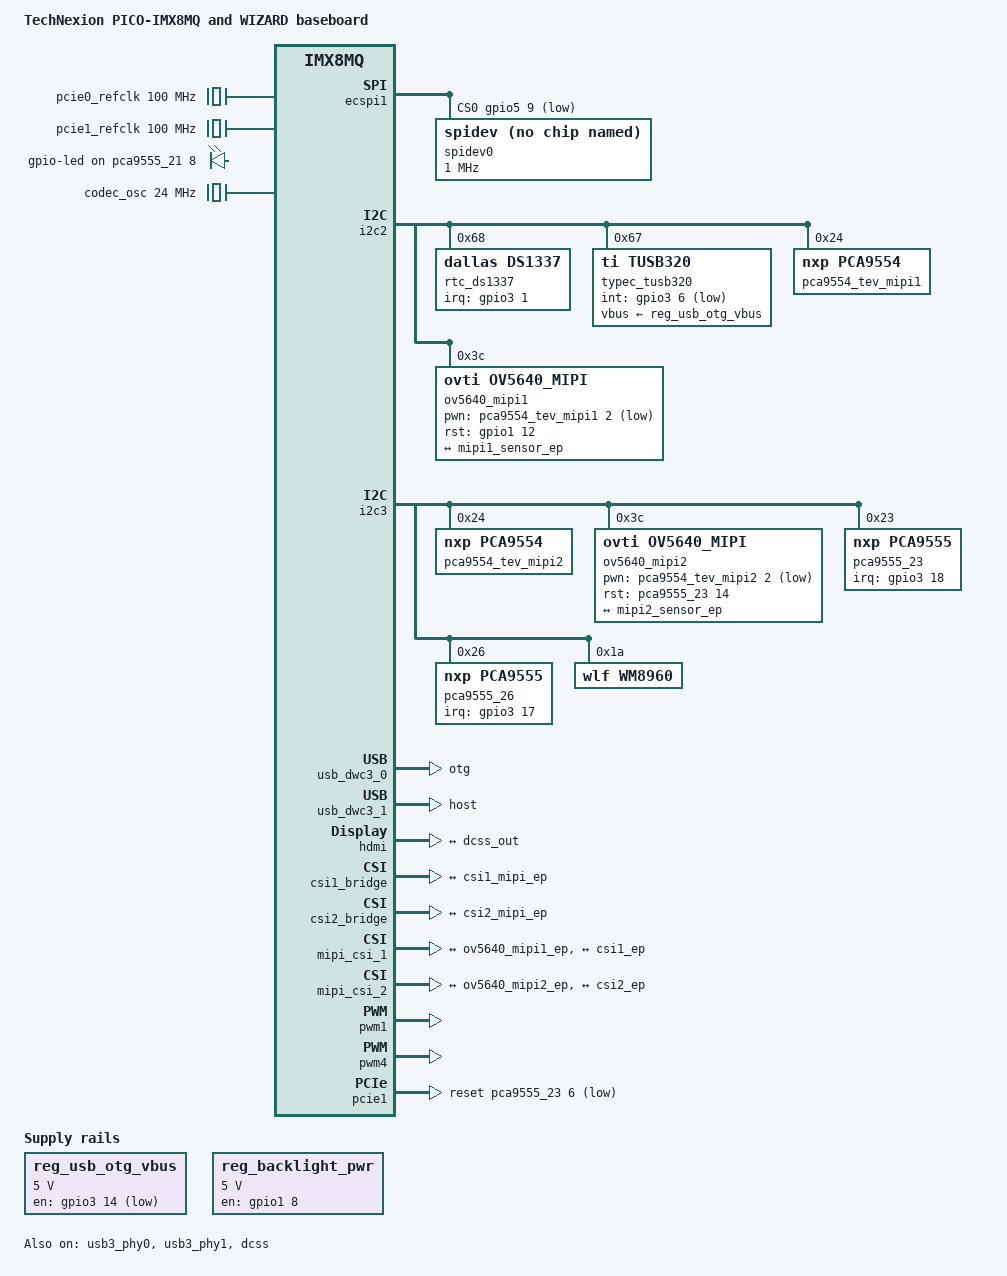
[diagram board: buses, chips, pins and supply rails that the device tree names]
/*
 * Copyright 2018 Technexion Ltd.
 * Copyright 2017 NXP
 *
 * Author: Richard Hu <richard.hu@technexion.com>
 *
 * This program is free software; you can redistribute it and/or
 * modify it under the terms of the GNU General Public License
 * as published by the Free Software Foundation; either version 2
 * of the License, or (at your option) any later version.
 *
 * This program is distributed in the hope that it will be useful,
 * but WITHOUT ANY WARRANTY; without even the implied warranty of
 * MERCHANTABILITY or FITNESS FOR A PARTICULAR PURPOSE.  See the
 * GNU General Public License for more details.
 */

/dts-v1/;

#include "imx8mq-pico.dtsi"

&gpio3 {
	pinctrl-names = "default";
	pinctrl-0 = <&pinctrl_gpio3>;
	gpio-line-names =
		"GPIO_P28", "", "", "", "GPIO_P26", "GPIO_P30", "", "",
		"", "", "", "", "", "", "", "GPIO_P32",
		"", "", "", "", "", "", "", "",
		"", "", "", "", "", "", "", "";
};

/ {
	model = "TechNexion PICO-IMX8MQ and WIZARD baseboard";
	compatible = "pico,imx8mq-pico", "fsl,imx8mq";

	chosen {
		stdout-path = &uart1;
	};

	pcie0_refclk: pcie0-refclk {
		compatible = "fixed-clock";
		#clock-cells = <0>;
		clock-frequency = <100000000>;
	};
	pcie1_refclk: pcie0-refclk {
		compatible = "fixed-clock";
		#clock-cells = <0>;
		clock-frequency = <100000000>;
	};
	reg_usb_otg_vbus: usb_otg_vbus {
		pinctrl-names = "default";
		pinctrl-0 = <&pinctrl_otg_vbus>;
		compatible = "regulator-fixed";
		regulator-name = "usb_otg_vbus";
		regulator-min-microvolt = <5000000>;
		regulator-max-microvolt = <5000000>;
		gpio = <&gpio3 14 GPIO_ACTIVE_LOW>;
	};
	reg_backlight_pwr: regulator_blpwr {
		pinctrl-names = "default";
		pinctrl-0 = <&pinctrl_backlight_pwr>;
		compatible = "regulator-fixed";
		regulator-name = "backlight_pwr";
		regulator-min-microvolt = <5000000>;
		regulator-max-microvolt = <5000000>;
		gpio = <&gpio1 8 GPIO_ACTIVE_HIGH>;
		enable-active-high;
	};

	backlight_mipi {
		compatible = "pwm-backlight";
		pwms = <&pwm1 0 50000 0>;
		brightness-levels = <0 36 72 108 144 180 216 255>;
		default-brightness-level = <6>;
		power-supply = <&reg_backlight_pwr>;
		status = "disabled";
	};

	leds {
		compatible = "gpio-leds";

		led {
			label = "gpio-led";
			default-state = "on";
			gpios = <&pca9555_21 8 GPIO_ACTIVE_HIGH>;
		};
	};

	sound-hdmi {
		compatible = "fsl,imx8mq-evk-cdnhdmi",
				"fsl,imx-audio-cdnhdmi";
		model = "imx-audio-hdmi";
		audio-cpu = <&sai4>;
		protocol = <1>;
		hdmi-out;
		constraint-rate = <44100>,
				<88200>,
				<176400>,
				<32000>,
				<48000>,
				<96000>,
				<192000>;
	};

	sound_wm8960: sound-wm8960 {
		compatible = "fsl,imx-audio-wm8960";
		model = "wm8960-audio";
		cpu-dai = <&sai2>;
		codec-master;
		audio-codec = <&wm8960>;
		audio-routing =
			"Headphone Jack", "HP_L",
			"Headphone Jack", "HP_R",
			"Ext Spk", "SPK_LP",
			"Ext Spk", "SPK_LN",
			"Ext Spk", "SPK_RP",
			"Ext Spk", "SPK_RN",
			"LINPUT1", "Main MIC",
			"RINPUT1", "Main MIC",
			"Main MIC", "MICB";
		/* JD2: hp detect high for headphone*/
		hp-det = <2 0>;
	};

	clocks {
		codec_osc: aud_mclk {
			compatible = "fixed-clock";
			#clock-cells = <0>;
			clock-frequency = <24000000>;
			clock-output-names = "wm8960-mclk";
		};
	};
};

&iomuxc {
	pinctrl-names = "default";
	pinctrl-0 = <&pinctrl_hog>;

	pinctrl_hog: hoggrp {
		fsl,pins = <
			/* Clock for both CSI1 and CSI2 */
			MX8MQ_IOMUXC_GPIO1_IO15_CCMSRCGPCMIX_CLKO2	0x07
		>;
	};

	pinctrl_otg_vbus: otgvbusgrp {
		fsl,pins = <
			MX8MQ_IOMUXC_NAND_DQS_GPIO3_IO14		0x19   /* USB OTG VBUS Enable */
		>;
	};
	pinctrl_backlight_pwr: backlight_pwrgrp {
		fsl,pins = <
			MX8MQ_IOMUXC_GPIO1_IO08_GPIO1_IO8		0x19
		>;
	};
	pinctrl_dsi_pwm: dsi_pwm {
		fsl,pins = <
			MX8MQ_IOMUXC_GPIO1_IO01_PWM1_OUT		0x16	/* DSI PWM */
		>;
	};
	pinctrl_fan_pwm: fan_pwm {
		fsl,pins = <
			MX8MQ_IOMUXC_SAI3_MCLK_PWM4_OUT			0x16	/* FAN PWM */
		>;
	};
	pinctrl_tusb320_irq: tusb320_irqgrp {
		fsl,pins = <
			MX8MQ_IOMUXC_NAND_DATA00_GPIO3_IO6	0x41	/* GPIO_P48 */
		>;
	};
	pinctrl_csi1: csi1grp {
		fsl,pins = <
			MX8MQ_IOMUXC_NAND_CE1_B_GPIO3_IO2		0x19   /* CSI P1 PWDN */
			MX8MQ_IOMUXC_GPIO1_IO12_GPIO1_IO12		0x19   /* CSI nRST */
		>;
	};
	pinctrl_nfc_ctrl: nfc_ctrl {
		fsl,pins = <
			MX8MQ_IOMUXC_ECSPI1_MOSI_GPIO5_IO7		0x19	/* PIN_ENABLE */
		>;
	};
	pinctrl_touch_irq: touch_irqgrp {
		fsl,pins = <
			MX8MQ_IOMUXC_GPIO1_IO07_GPIO1_IO7	0x41
		>;
	};
	pinctrl_pca9555_21: pca9555_21grp {
		fsl,pins = <
			MX8MQ_IOMUXC_NAND_CE2_B_GPIO3_IO3	0x19 /* GPIO_P25, irq */
		>;
	};
	pinctrl_pca9555_23: pca9555_23grp {
		fsl,pins = <
			MX8MQ_IOMUXC_NAND_WP_B_GPIO3_IO18	0x19 /* GPIO_P42, irq */
		>;
	};
	pinctrl_pca9555_26: pca9555_26grp {
		fsl,pins = <
			MX8MQ_IOMUXC_NAND_WE_B_GPIO3_IO17	0x19 /* GPIO_P34, irq */
		>;
	};
	pinctrl_gpio_led: gpioledgrp {
		fsl,pins = <
			MX8MQ_IOMUXC_SPDIF_EXT_CLK_GPIO5_IO5	0x19
		>;
	};
	pinctrl_rtc_irq: pinctrl_rtc_irqgrp {
		fsl,pins = <
			MX8MQ_IOMUXC_NAND_CE0_B_GPIO3_IO1   0x150 /* GPIO_P24, rtc wakeup irq */
		>;
	};
	pinctrl_gpio3: gpio3grp {
		fsl,pins = <
			MX8MQ_IOMUXC_NAND_ALE_GPIO3_IO0			0x19 /* GPIO_P28 */
			MX8MQ_IOMUXC_NAND_CE3_B_GPIO3_IO4		0x19 /* GPIO_P26, PIN_INT on NFC */
			MX8MQ_IOMUXC_NAND_CLE_GPIO3_IO5			0x19 /* GPIO_P30 */
			MX8MQ_IOMUXC_NAND_RE_B_GPIO3_IO15		0x19 /* GPIO_P32 */
		>;
	};
	pinctrl_ecspi1: ecspi1grp {
		fsl,pins = <
			MX8MQ_IOMUXC_ECSPI1_SCLK_ECSPI1_SCLK	0x82
			MX8MQ_IOMUXC_ECSPI1_MOSI_ECSPI1_MOSI	0x82
			MX8MQ_IOMUXC_ECSPI1_MISO_ECSPI1_MISO	0x82
		>;
	};
	pinctrl_ecspi1_cs: ecspi1cs {
		fsl,pins = <
			MX8MQ_IOMUXC_ECSPI1_SS0_GPIO5_IO9	0x16
		>;
	};
};


&ecspi1 {
	#address-cells = <1>;
	#size-cells = <0>;
	fsl,spi-num-chipselects = <1>;
	pinctrl-names = "default";
	pinctrl-0 = <&pinctrl_ecspi1 &pinctrl_ecspi1_cs>;
	cs-gpios = <&gpio5 9 GPIO_ACTIVE_LOW>;
	status = "okay";

	spidev0: spi@0 {
		reg = <0>;
		compatible = "rohm,dh2228fv";
		spi-max-frequency = <1000000>;
	};
};

&i2c2 {
	status = "okay";

	rtc_ds1337: ds1337@68 {
		compatible = "dallas,ds1337";
		pinctrl-0 = <&pinctrl_rtc_irq>;
		reg = <0x68>;
		wakeup-source;
		interrupt-parent = <&gpio3>;
		interrupts = <1 0>;
	};

	typec_tusb320:tusb320@67 {
		compatible = "ti,tusb320";
		pinctrl-names = "default";
		pinctrl-0 = <&pinctrl_tusb320_irq>;
		reg = <0x67>;
		vbus-supply = <&reg_usb_otg_vbus>;
		tusb320,int-gpio = <&gpio3 6 GPIO_ACTIVE_LOW>;
		tusb320,select-mode = <0>;
		tusb320,dfp-power = <0>;
	};

	/* PCA9554 on camera tev_mipi board */
	pca9554_tev_mipi1: pca9554_tev_mipi@24 {
		compatible = "nxp,pca9554";
		reg =<0x24>;
		gpio-controller;
		#gpio-cells = <2>;
	};

	ov5640_mipi1: ov5640_mipi@3c {
		compatible = "ovti,ov5640_mipi";
		reg = <0x3c>;
		status = "okay";
		pinctrl-names = "default";
		pinctrl-0 = <&pinctrl_csi1>;
		clocks = <&clk IMX8MQ_CLK_CLKO2>;
		clock-names = "csi_mclk";
		assigned-clocks = <&clk IMX8MQ_CLK_CLKO2>;
		assigned-clock-parents = <&clk IMX8MQ_SYS2_PLL_200M>;
		assigned-clock-rates = <20000000>;
		csi_id = <0>;
		pwn-gpios = <&pca9554_tev_mipi1 2 GPIO_ACTIVE_LOW>;
		rst-gpios = <&gpio1 12 GPIO_ACTIVE_HIGH>;
		mclk = <20000000>;
		mclk_source = <0>;
		port {
			ov5640_mipi1_ep: endpoint {
				remote-endpoint = <&mipi1_sensor_ep>;
			};
		};
	};
};

&i2c3 {
	status = "okay";

	/* PCA9554 on camera tev_mipi board */
	pca9554_tev_mipi2: pca9554_tev_mipi@24 {
		compatible = "nxp,pca9554";
		reg =<0x24>;
		gpio-controller;
		#gpio-cells = <2>;
	};

	ov5640_mipi2: ov5640_mipi2@3c {
		compatible = "ovti,ov5640_mipi";
		reg = <0x3c>;
		status = "okay";
		pinctrl-names = "default";
		clocks = <&clk IMX8MQ_CLK_CLKO2>;
		clock-names = "csi_mclk";
		assigned-clocks = <&clk IMX8MQ_CLK_CLKO2>;
		assigned-clock-parents = <&clk IMX8MQ_SYS2_PLL_200M>;
		assigned-clock-rates = <20000000>;
		csi_id = <1>;
		pwn-gpios = <&pca9554_tev_mipi2 2 GPIO_ACTIVE_LOW>;
		rst-gpios = <&pca9555_23 14 GPIO_ACTIVE_HIGH>;
		mclk = <20000000>;
		mclk_source = <0>;
		port {
			ov5640_mipi2_ep: endpoint {
				remote-endpoint = <&mipi2_sensor_ep>;
			};
		};
	};

	pca9555_21: pinctrl_pca9555_21@21 {
		compatible = "nxp,pca9555";
		pinctrl-names = "default";
		pinctrl-0 = <&pinctrl_pca9555_21>;
		interrupt-parent = <&gpio3>;
		interrupts = <3 IRQ_TYPE_EDGE_FALLING>;
		reg =<0x21>;
		gpio-controller;
		#gpio-cells = <2>;
		interrupt-controller;
		#interrupt-cells = <2>;
	};

	pca9555_23: pca9555_23@23 {
		compatible = "nxp,pca9555";
		pinctrl-names = "default";
		pinctrl-0 = <&pinctrl_pca9555_23>;
		interrupt-parent = <&gpio3>;
		interrupts = <18 IRQ_TYPE_EDGE_FALLING>;
		reg =<0x23>;
		gpio-controller;
		#gpio-cells = <2>;
		interrupt-controller;
		#interrupt-cells = <2>;
	};

	pca9555_26: pca9555_26@26 {
		compatible = "nxp,pca9555";
		pinctrl-names = "default";
		pinctrl-0 = <&pinctrl_pca9555_26>;
		interrupt-parent = <&gpio3>;
		interrupts = <17 IRQ_TYPE_EDGE_FALLING>;
		reg =<0x26>;
		gpio-controller;
		#gpio-cells = <2>;
		interrupt-controller;
		#interrupt-cells = <2>;
	};

	wm8960: codec@1a {
		compatible = "wlf,wm8960";
		#sound-dai-cells = <0>;
		reg = <0x1a>;
		clocks = <&codec_osc>;
		clock-names = "mclk";
		wlf,shared-lrclk;
		wlf,fixed-mclk;
	};
};

&usb3_phy0 {
	status = "okay";
};

&usb_dwc3_0 {
	extcon = <&typec_tusb320>;
	dr_mode = "otg";
	status = "okay";
};

&usb3_phy1 {
	status = "okay";
};

&usb_dwc3_1 {
	status = "okay";
	dr_mode = "host";
};

&dcss {
	status = "okay";

	port@0 {
		dcss_out: endpoint {
			remote-endpoint = <&hdmi_in>;
		};
	};
};

&hdmi {
	compatible = "cdn,imx8mq-hdmi";
	lane-mapping = <0xe4>;
	status = "okay";
	port@1 {
		hdmi_in: endpoint {
			remote-endpoint = <&dcss_out>;
		};
	};
};

&csi1_bridge {
	fsl,mipi-mode;
	fsl,two-8bit-sensor-mode;
	status = "okay";

	port {
		csi1_ep: endpoint {
			remote-endpoint = <&csi1_mipi_ep>;
		};
	};
};

&csi2_bridge {
	fsl,mipi-mode;
	fsl,two-8bit-sensor-mode;
	status = "okay";

	port {
		csi2_ep: endpoint {
			remote-endpoint = <&csi2_mipi_ep>;
		};
	};
};

&mipi_csi_1 {
	#address-cells = <1>;
	#size-cells = <0>;
	status = "okay";
	port {
		mipi1_sensor_ep: endpoint@0 {
			remote-endpoint = <&ov5640_mipi1_ep>;
			data-lanes = <1 2>;
			bus-type = <4>;
		};

		csi1_mipi_ep: endpoint@1 {
			remote-endpoint = <&csi1_ep>;
		};
	};
};

&mipi_csi_2 {
	#address-cells = <1>;
	#size-cells = <0>;
	status = "okay";
	port {
		mipi2_sensor_ep: endpoint@0 {
			remote-endpoint = <&ov5640_mipi2_ep>;
			data-lanes = <1 2>;
			bus-type = <4>;
		};

		csi2_mipi_ep: endpoint@1 {
			remote-endpoint = <&csi2_ep>;
		};
	};
};

&pwm1 {
	pinctrl-names = "default";
	pinctrl-0 = <&pinctrl_dsi_pwm>;
	status = "okay";
};

&pwm4 {
	pinctrl-names = "default";
	pinctrl-0 = <&pinctrl_fan_pwm>;
	status = "okay";
};

&pcie1 {
	clkreq-gpio = <&pca9555_23 7 GPIO_ACTIVE_LOW>;
	disable-gpio = <&pca9555_23 4 GPIO_ACTIVE_LOW>;
	reset-gpio = <&pca9555_23 6 GPIO_ACTIVE_LOW>;
	clocks = <&clk IMX8MQ_CLK_PCIE2_ROOT>,
		 <&clk IMX8MQ_CLK_PCIE2_AUX>,
		 <&clk IMX8MQ_CLK_PCIE2_PHY>,
		 <&pcie1_refclk>;
	clock-names = "pcie", "pcie_aux", "pcie_phy", "pcie_bus";
	ext_osc = <1>;
	status = "okay";
};
